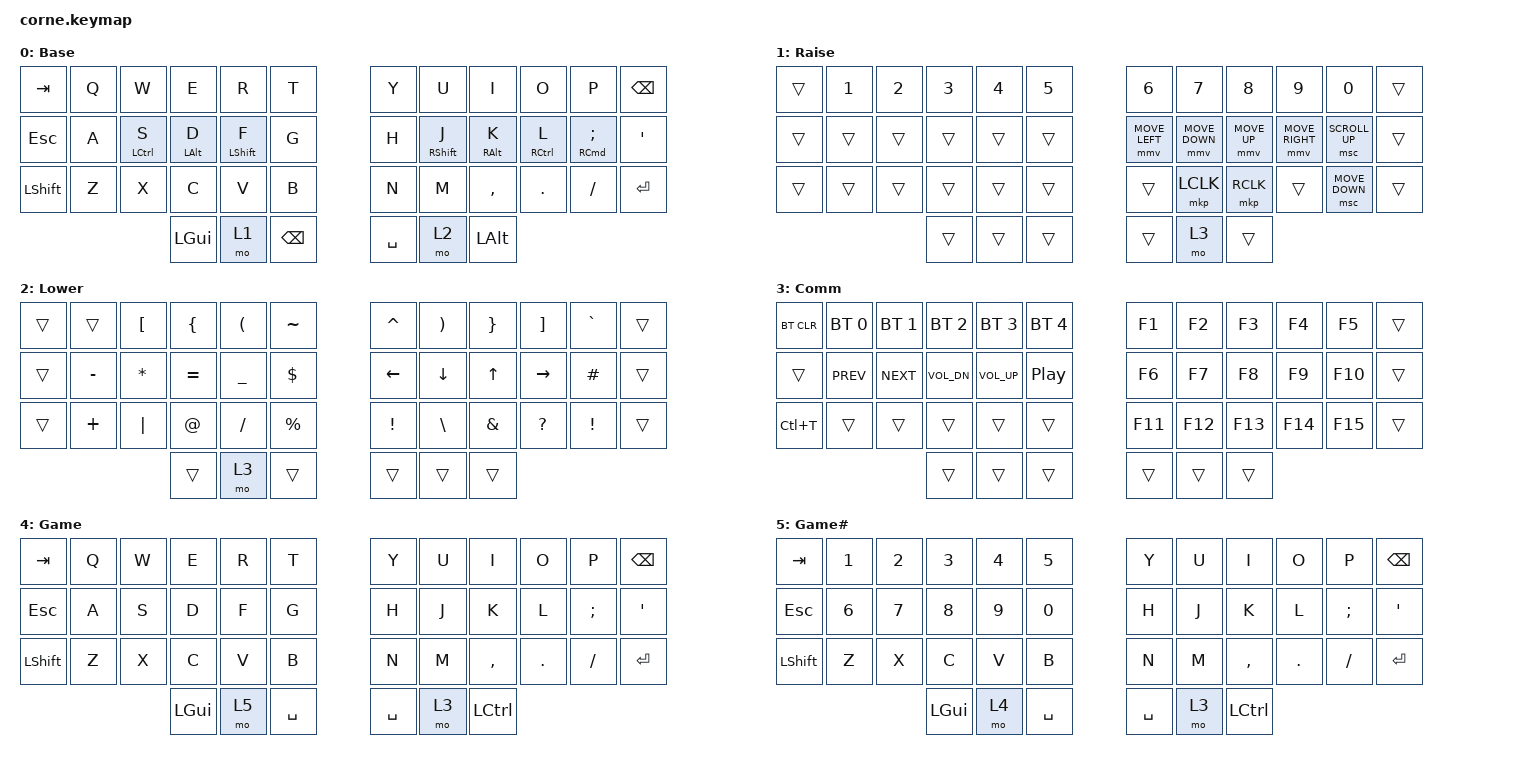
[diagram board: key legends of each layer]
/*
 * Copyright (c) 2020 The ZMK Contributors
 *
 * SPDX-License-Identifier: MIT
 */

#include <behaviors.dtsi>
#include <dt-bindings/zmk/bt.h>
#include <dt-bindings/zmk/keys.h>
#include <dt-bindings/zmk/mouse.h>

/ {
    behaviors {
        rpi: require_prior_idle {
            compatible = "zmk,behavior-hold-tap";
            #binding-cells = <2>;
            flavor = "tap-preferred";
            tapping-term-ms = <200>;
            quick-tap-ms = <200>;
            require-prior-idle-ms = <200>;
            bindings = <&kp>, <&kp>;
        };
    };

    combos {
        compatible = "zmk,combos";

        Games {
            bindings = <&tog 4>;
            key-positions = <36 37 40 41>;
        };

        CTRL {
            bindings = <&kp LCTRL>;
            key-positions = <41 36>;
        };
    };

    keymap {
        compatible = "zmk,keymap";

        default_layer {
            // -----------------------------------------------------------------------------------------
            // |  TAB |  Q  |  W  |  E  |  R  |  T  |   |  Y  |  U   |  I  |  O  |  P  | BKSP |
            // | CTRL |  A  |  S  |  D  |  F  |  G  |   |  H  |  J   |  K  |  L  |  ;  |  '   |
            // | SHFT |  Z  |  X  |  C  |  V  |  B  |   |  N  |  M   |  ,  |  .  |  /  | ESC  |
            //                    | GUI | LWR | SPC |   | ENT | RSE  | ALT |

            display-name = "Base";
            bindings = <
&kp TAB     &kp Q  &kp W                &kp E            &kp R              &kp T            &kp Y      &kp U               &kp I             &kp O                 &kp P           &kp BSPC
&kp ESCAPE  &kp A  &rpi LEFT_CONTROL S  &rpi LEFT_ALT D  &rpi LEFT_SHIFT F  &kp G            &kp H      &rpi RIGHT_SHIFT J  &rpi RIGHT_ALT K  &rpi RIGHT_CONTROL L  &rpi RCMD SEMI  &kp SQT
&kp LSHFT   &kp Z  &kp X                &kp C            &kp V              &kp B            &kp N      &kp M               &kp COMMA         &kp DOT               &kp FSLH        &kp ENTER
                                        &kp LGUI         &mo 1              &kp BACKSPACE    &kp SPACE  &mo 2               &kp LEFT_ALT
            >;
        };

        raise_layer {
            display-name = "Raise";
            bindings = <
&trans  &kp NUMBER_1  &kp NUMBER_2  &kp NUMBER_3  &kp NUMBER_4  &kp N5    &kp NUMBER_6    &kp NUMBER_7    &kp NUMBER_8  &kp NUMBER_9     &kp N0          &trans
&trans  &trans        &trans        &trans        &trans        &trans    &mmv MOVE_LEFT  &mmv MOVE_DOWN  &mmv MOVE_UP  &mmv MOVE_RIGHT  &msc SCROLL_UP  &trans
&trans  &trans        &trans        &trans        &trans        &trans    &trans          &mkp LCLK       &mkp RCLK     &trans           &msc MOVE_DOWN  &trans
                                    &trans        &trans        &trans    &trans          &mo 3           &trans
            >;
        };

        lower_layer {
            display-name = "Lower";
            bindings = <
&trans  &trans     &kp LEFT_BRACKET  &kp LEFT_BRACE  &kp LEFT_PARENTHESIS  &kp TILDE      &kp CARET  &kp RIGHT_PARENTHESIS  &kp RIGHT_BRACE  &kp RIGHT_BRACKET  &kp GRAVE        &trans
&trans  &kp MINUS  &kp ASTERISK      &kp EQUAL       &kp UNDERSCORE        &kp DOLLAR     &kp LEFT   &kp DOWN               &kp UP           &kp RIGHT          &kp HASH         &trans
&trans  &kp PLUS   &kp PIPE          &kp AT          &kp SLASH             &kp PERCENT    &kp EXCL   &kp BACKSLASH          &kp AMPERSAND    &kp QUESTION       &kp EXCLAMATION  &trans
                                     &trans          &mo 3                 &trans         &trans     &trans                 &trans
            >;
        };

        command_layer {
            display-name = "Comm";
            bindings = <
&bt BT_CLR  &bt BT_SEL 0  &bt BT_SEL 1  &bt BT_SEL 2  &bt BT_SEL 3  &bt BT_SEL 4        &kp F1   &kp F2   &kp F3   &kp F4   &kp F5   &trans
&trans      &kp C_PREV    &kp C_NEXT    &kp C_VOL_DN  &kp C_VOL_UP  &kp C_PLAY_PAUSE    &kp F6   &kp F7   &kp F8   &kp F9   &kp F10  &trans
&kp LC(T)   &trans        &trans        &trans        &trans        &trans              &kp F11  &kp F12  &kp F13  &kp F14  &kp F15  &trans
                                        &trans        &trans        &trans              &trans   &trans   &trans
            >;
        };

        game_layer {
            display-name = "Game";
            bindings = <
&kp TAB     &kp Q  &kp W  &kp E     &kp R  &kp T        &kp Y      &kp U  &kp I             &kp O    &kp P     &kp BSPC
&kp ESCAPE  &kp A  &kp S  &kp D     &kp F  &kp G        &kp H      &kp J  &kp K             &kp L    &kp SEMI  &kp SQT
&kp LSHFT   &kp Z  &kp X  &kp C     &kp V  &kp B        &kp N      &kp M  &kp COMMA         &kp DOT  &kp FSLH  &kp ENTER
                          &kp LGUI  &mo 5  &kp SPACE    &kp SPACE  &mo 3  &kp LEFT_CONTROL
            >;
        };

        game2_layer {
            display-name = "Game#";
            bindings = <
&kp TAB     &kp NUMBER_1  &kp NUMBER_2  &kp NUMBER_3  &kp NUMBER_4  &kp N5       &kp Y      &kp U  &kp I             &kp O    &kp P     &kp BSPC
&kp ESCAPE  &kp NUMBER_6  &kp NUMBER_7  &kp NUMBER_8  &kp NUMBER_9  &kp N0       &kp H      &kp J  &kp K             &kp L    &kp SEMI  &kp SQT
&kp LSHFT   &kp Z         &kp X         &kp C         &kp V         &kp B        &kp N      &kp M  &kp COMMA         &kp DOT  &kp FSLH  &kp ENTER
                                        &kp LGUI      &mo 4         &kp SPACE    &kp SPACE  &mo 3  &kp LEFT_CONTROL
            >;
        };
    };
};
